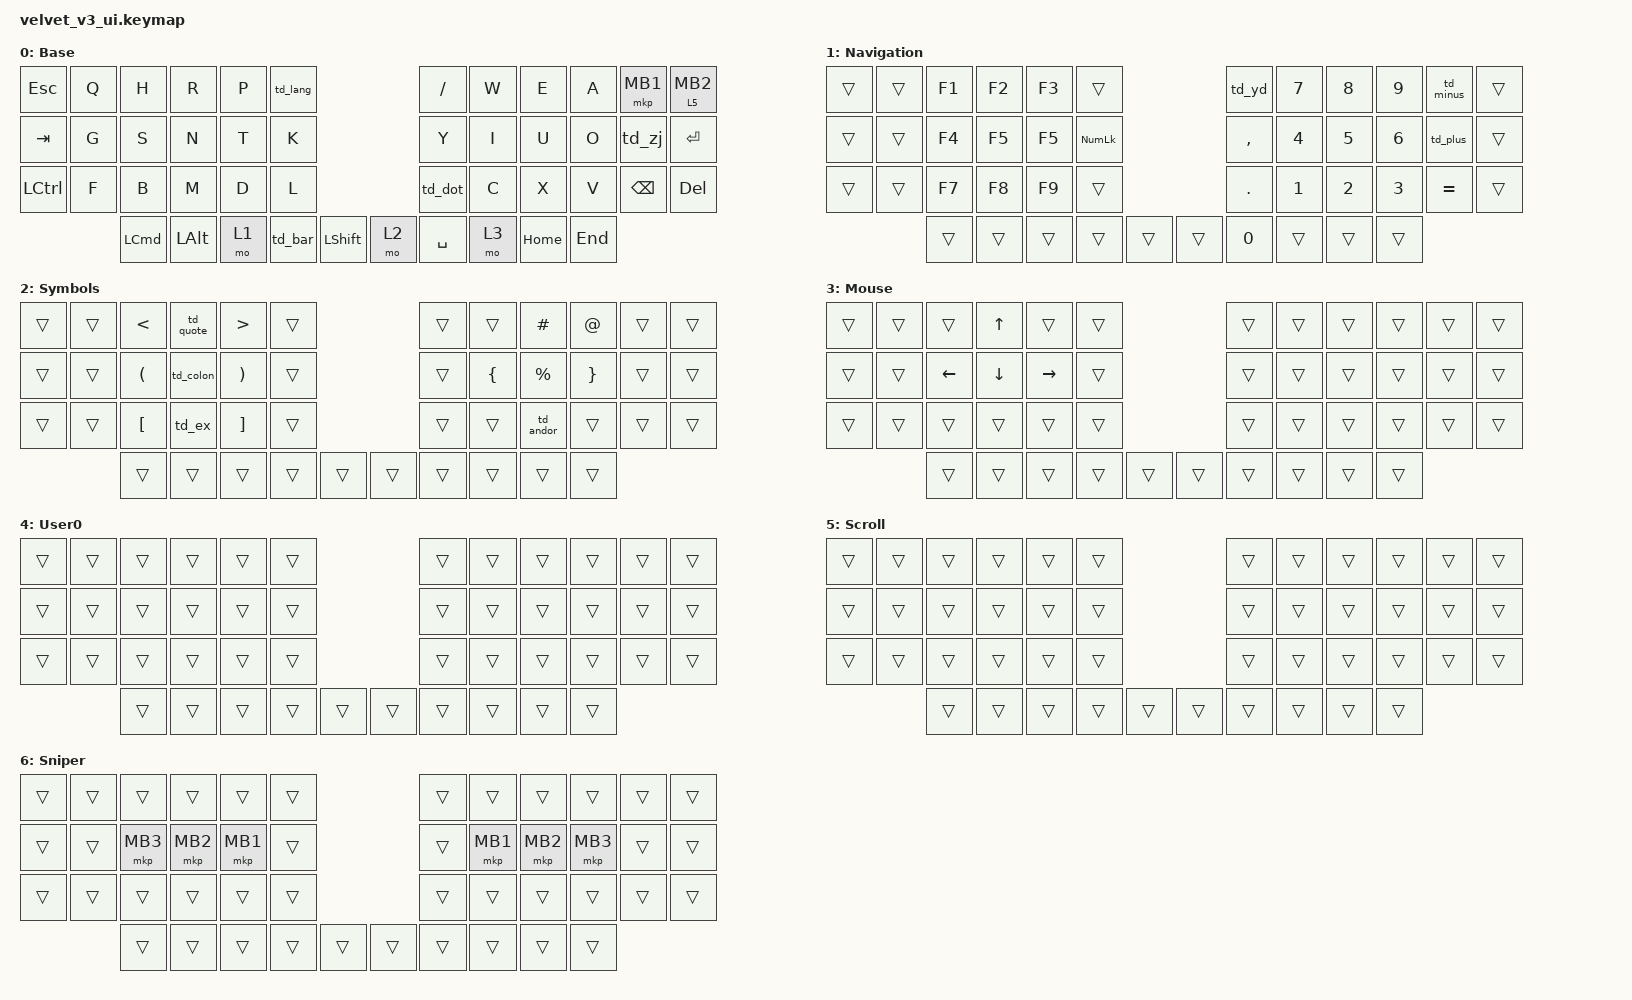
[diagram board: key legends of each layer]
#include "keys_ru.h"
#include <dt-bindings/zmk/input_transform.h>
#include <input/processors.dtsi>
#include <zephyr/dt-bindings/input/input-event-codes.h>
#include <behaviors.dtsi>
#include <dt-bindings/zmk/keys.h>
#include <dt-bindings/zmk/pointing.h>

/ {
    behaviors {
        cap_sen: cap_sen {
            compatible = "zmk,behavior-hold-tap";
            label = "CAP_SEN";
            bindings = <&mo>, <&mkp>;

            #binding-cells = <2>;
            tapping-term-ms = <150>;
            hold-while-undecided;
        };

        td_hf: td_hf {
            compatible = "zmk,behavior-tap-dance";
            label = "TD_HF";
            #binding-cells = <0>;
            bindings = <&kp H>, <&kp F>;
        };

        td_zj: td_zj {
            compatible = "zmk,behavior-tap-dance";
            label = "TD_ZJ";
            #binding-cells = <0>;
            bindings = <&kp Z>, <&kp J>;
        };

        td_bar: td_bar {
            compatible = "zmk,behavior-tap-dance";
            label = "TD_BAR";
            #binding-cells = <0>;
            bindings = <&kp MINUS>, <&kp TILDE>;
        };

        td_q: td_q {
            compatible = "zmk,behavior-tap-dance";
            label = "TD_Q";
            #binding-cells = <0>;
            bindings = <&kp Q>, <&kp ESC>;
        };

        td_lang: td_lang {
            compatible = "zmk,behavior-tap-dance";
            label = "TD_LANG";
            #binding-cells = <0>;
            bindings = <&kp LANGUAGE_1>, <&kp LANGUAGE_2>;
        };

        td_dot: td_dot {
            compatible = "zmk,behavior-tap-dance";
            label = "TD_DOT";
            #binding-cells = <0>;
            bindings = <&kp COMMA>, <&kp PERIOD>;
        };

        td_minus: td_minus {
            compatible = "zmk,behavior-tap-dance";
            label = "TD_MINUS";
            #binding-cells = <0>;
            bindings = <&kp MINUS>, <&kp FSLH>;
        };

        td_plus: td_plus {
            compatible = "zmk,behavior-tap-dance";
            label = "TD_PLUS";
            #binding-cells = <0>;
            bindings = <&kp PLUS>, <&kp ASTRK>;
        };

        td_yd: td_yd {
            compatible = "zmk,behavior-tap-dance";
            label = "TD_YD";
            #binding-cells = <0>;
            bindings = <&kp INT_YEN>, <&kp DOLLAR>;
        };

        td_colon: td_colon {
            compatible = "zmk,behavior-tap-dance";
            label = "TD_COLON";
            #binding-cells = <0>;
            bindings = <&kp SEMI>, <&kp COLON>;
        };

        td_ex: td_ex {
            compatible = "zmk,behavior-tap-dance";
            label = "TD_EX";
            #binding-cells = <0>;
            bindings = <&kp QMARK>, <&kp EXCL>;
        };

        td_quote: td_quote {
            compatible = "zmk,behavior-tap-dance";
            label = "TD_QUOTE";
            #binding-cells = <0>;
            bindings = <&kp SQT>, <&kp DQT>;
        };

        td_andor: td_andor {
            compatible = "zmk,behavior-tap-dance";
            label = "TD_ANDOR";
            #binding-cells = <0>;
            bindings = <&kp AMPERSAND>, <&kp PIPE>;
        };
    };

    keymap {
        compatible = "zmk,keymap";

        base {
            bindings = <
&kp ESC           &kp Q  &kp H     &kp R         &kp P  &td_lang                      &kp FSLH   &kp W  &kp E     &kp A    &mkp MB1       &cap_sen 5 MB2
&kp TAB           &kp G  &kp S     &kp N         &kp T  &kp K                         &kp Y      &kp I  &kp U     &kp O    &td_zj         &kp ENTER
&kp LEFT_CONTROL  &kp F  &kp B     &kp M         &kp D  &kp L                         &td_dot    &kp C  &kp X     &kp V    &kp BACKSPACE  &kp DELETE
                         &kp LCMD  &kp LEFT_ALT  &mo 1  &td_bar   &kp LSHFT    &mo 2  &kp SPACE  &mo 3  &kp HOME  &kp END
            >;

            display-name = "Base";
        };

        nav {
            bindings = <
&trans  &trans  &kp F1  &kp F2  &kp F3  &trans                            &td_yd     &kp N7  &kp N8  &kp N9  &td_minus  &trans
&trans  &trans  &kp F4  &kp F5  &kp F5  &kp KP_NUMLOCK                    &kp COMMA  &kp N4  &kp N5  &kp N6  &td_plus   &trans
&trans  &trans  &kp F7  &kp F8  &kp F9  &trans                            &kp DOT    &kp N1  &kp N2  &kp N3  &kp EQUAL  &trans
                &trans  &trans  &trans  &trans          &trans    &trans  &kp N0     &trans  &trans  &trans
            >;

            display-name = "Navigation";
        };

        sym {
            bindings = <
&trans  &trans  &kp LT            &td_quote  &kp GT             &trans                    &trans  &trans    &kp HASH     &kp AT_SIGN  &trans  &trans
&trans  &trans  &kp LPAR          &td_colon  &kp RPAR           &trans                    &trans  &kp LBRC  &kp PERCENT  &kp RBRC     &trans  &trans
&trans  &trans  &kp LEFT_BRACKET  &td_ex     &kp RIGHT_BRACKET  &trans                    &trans  &trans    &td_andor    &trans       &trans  &trans
                &trans            &trans     &trans             &trans  &trans    &trans  &trans  &trans    &trans       &trans
            >;

            display-name = "Symbols";
        };

        mouse {
            bindings = <
&trans  &trans  &trans          &kp UP_ARROW    &trans     &trans                    &trans  &trans  &trans  &trans  &trans  &trans
&trans  &trans  &kp LEFT_ARROW  &kp DOWN_ARROW  &kp RIGHT  &trans                    &trans  &trans  &trans  &trans  &trans  &trans
&trans  &trans  &trans          &trans          &trans     &trans                    &trans  &trans  &trans  &trans  &trans  &trans
                &trans          &trans          &trans     &trans  &trans    &trans  &trans  &trans  &trans  &trans
            >;

            display-name = "Mouse";
        };

        User0 {
            bindings = <
&trans  &trans  &trans  &trans  &trans  &trans                    &trans  &trans  &trans  &trans  &trans  &trans
&trans  &trans  &trans  &trans  &trans  &trans                    &trans  &trans  &trans  &trans  &trans  &trans
&trans  &trans  &trans  &trans  &trans  &trans                    &trans  &trans  &trans  &trans  &trans  &trans
                &trans  &trans  &trans  &trans  &trans    &trans  &trans  &trans  &trans  &trans
            >;

            display-name = "User0";
        };

        scroll {
            bindings = <
&trans  &trans  &trans  &trans  &trans  &trans                    &trans  &trans  &trans  &trans  &trans  &trans
&trans  &trans  &trans  &trans  &trans  &trans                    &trans  &trans  &trans  &trans  &trans  &trans
&trans  &trans  &trans  &trans  &trans  &trans                    &trans  &trans  &trans  &trans  &trans  &trans
                &trans  &trans  &trans  &trans  &trans    &trans  &trans  &trans  &trans  &trans
            >;

            display-name = "Scroll";
        };

        sniper {
            bindings = <
&trans  &trans  &trans    &trans    &trans    &trans                    &trans  &trans    &trans    &trans    &trans  &trans
&trans  &trans  &mkp MB3  &mkp MB2  &mkp MB1  &trans                    &trans  &mkp MB1  &mkp MB2  &mkp MB3  &trans  &trans
&trans  &trans  &trans    &trans    &trans    &trans                    &trans  &trans    &trans    &trans    &trans  &trans
                &trans    &trans    &trans    &trans  &trans    &trans  &trans  &trans    &trans    &trans
            >;

            display-name = "Sniper";
        };
    };
};

&trackball { cpi = <1000>; };

&trackball_listener {
    input-processors = <&zip_xy_scaler 9 20>;

    scroller {
        layers = <5>;
        input-processors =
            <&zip_xy_transform INPUT_TRANSFORM_Y_INVERT>,
            <&zip_xy_scaler 1 32>,
            <&zip_xy_to_scroll_mapper>;
    };

    sniper {
        layers = <6>;
        input-processors = <&zip_xy_scaler 1 4>;
    };
};
